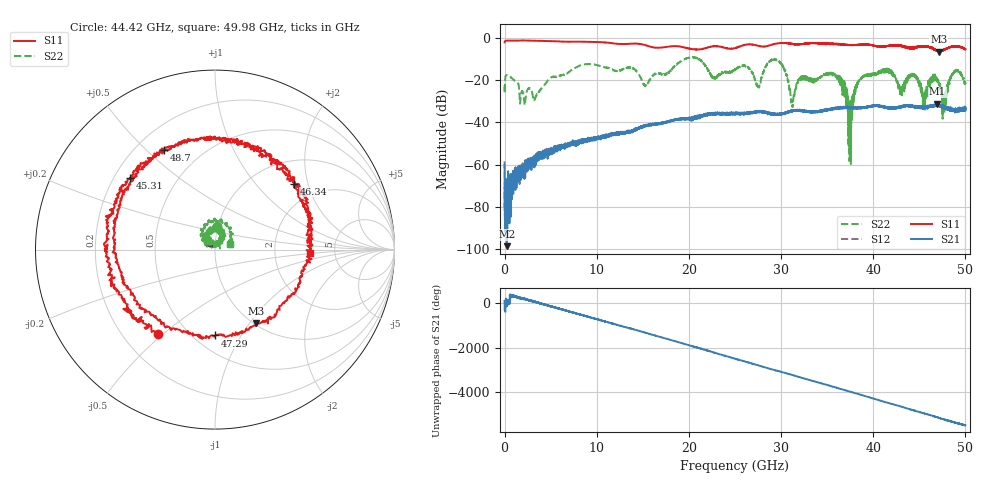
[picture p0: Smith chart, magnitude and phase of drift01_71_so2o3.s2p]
!Created with skrf (http://scikit-rf.org).
# Hz S RI R 50.0
!freq ReS11 ImS11 ReS21 ImS21 ReS12 ImS12 ReS22 ImS22
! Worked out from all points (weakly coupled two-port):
!   10001 points, 300 kHz to 50 GHz, reference 50 ohm
!   highest |S21| = -31.31 dB at 46.94 GHz (marker M1); lowest = -98.6 dB at 240.3 MHz (marker M2)
!   lowest |S11| = -6.6 dB at 47.1 GHz (marker M3), VSWR 2.77, Z = 51.1 - j53.7 ohm
!   |S11| at or under -10 dB: nowhere
!   |S22| runs from -60.2 to -9.2 dB; largest |S21 - S12| = 0.0034
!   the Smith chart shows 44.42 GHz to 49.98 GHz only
!   S11 on the Smith chart (normalised r, x): 44.42 GHz: 0.35, -0.48; 45.31 GHz: 0.27, +0.34; 46.34 GHz: 1.50, +1.65; 47.29 GHz: 0.63, -0.78; 48.7 GHz: 0.31, +0.57; 49.98 GHz: 3.23, -0.19
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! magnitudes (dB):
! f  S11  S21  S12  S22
! 300 kHz  -2.2  -60.2  -58.5  -22.4
! 240.3 MHz  -1.4  -98.6  -74.8  -17.7
! 3.29 GHz  -1.5  -56.7  -57.5  -28.8
! 8.335 GHz  -1.9  -48.5  -49.0  -12.9
! 16.67 GHz  -4.8  -40.8  -40.7  -16.7
! 25 GHz  -5.0  -35.8  -36.1  -15.3
! 29.58 GHz  -2.8  -36.3  -36.4  -10.7
! 31.23 GHz  -3.0  -34.8  -34.5  -32.3
! 33.34 GHz  -2.6  -35.0  -35.1  -20.5
! 36.14 GHz  -3.0  -33.3  -33.2  -18.6
! 37.47 GHz  -3.6  -33.1  -32.9  -32.9
! 38.64 GHz  -3.3  -33.2  -33.2  -19.4
! 41.67 GHz  -3.8  -33.2  -33.1  -16.4
! 44.42 GHz  -4.9  -33.0  -32.5  -17.4
! 45.31 GHz  -4.2  -32.7  -33.1  -26.8
! 46.34 GHz  -4.8  -32.0  -31.9  -19.4
! 46.94 GHz  -6.2  -31.3  -32.1  -20.3
! 47.1 GHz  -6.6  -32.0  -32.3  -21.9
! 47.29 GHz  -6.4  -32.3  -32.3  -24.1
! 48.7 GHz  -4.1  -33.8  -34.1  -16.5
! 49.98 GHz  -5.5  -33.6  -33.0  -20.9
! 50 GHz  -5.5  -33.0  -33.3  -21.2
